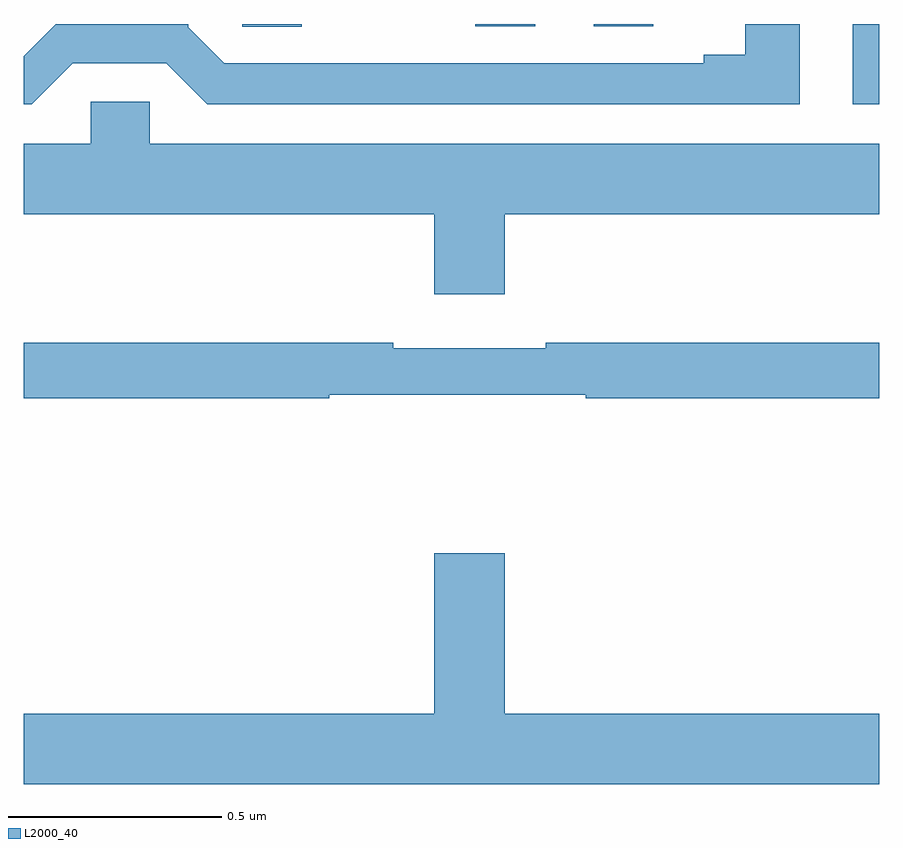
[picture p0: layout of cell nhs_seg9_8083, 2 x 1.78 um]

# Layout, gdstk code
import gdstk
lib = gdstk.Library(unit=1e-6, precision=1e-09)
def R(c, l, rs):  # rectangles x0, y0, x1, y1
    for r in rs: c.add(gdstk.rectangle(r[:2], r[2:], *l))
def P(c, l, *ps):  # polygons
    for p in ps: c.add(gdstk.Polygon(p, *l))
L2000_40 = (2000, 40)

nhs_seg9_8083 = lib.new_cell('nhs_seg9_8083')
R(nhs_seg9_8083, L2000_40, [(213.938,1227.312,214,1227.5), (212.511,1227.493,212.65,1227.5), (213.056,1227.495,213.196,1227.5), (213.332,1227.495,213.472,1227.5)])
P(nhs_seg9_8083, L2000_40, [(212.115,1227.408),(212.333,1227.408),(212.429,1227.312),(213.814,1227.312),(213.814,1227.5),(213.686,1227.5),(213.686,1227.428),(213.59,1227.428),(213.59,1227.408),(212.469,1227.408),(212.385,1227.492),(212.385,1227.5),(212.075,1227.5),(212,1227.425),(212,1227.312),(212.019,1227.312)],
  [(213.124,1227.056),(214,1227.056),(214,1227.22),(212.295,1227.22),(212.295,1227.318),(212.157,1227.318),(212.157,1227.22),(212,1227.22),(212,1227.056),(212.96,1227.056),(212.96,1226.868),(213.124,1226.868)],
  [(212.714,1226.634),(213.314,1226.634),(213.314,1226.626),(214,1226.626),(214,1226.755),(213.22,1226.755),(213.22,1226.742),(212.864,1226.742),(212.864,1226.755),(212,1226.755),(212,1226.626),(212.714,1226.626)],
  [(214,1225.888),(213.124,1225.888),(213.124,1226.263),(212.96,1226.263),(212.96,1225.888),(212,1225.888),(212,1225.724),(214,1225.724)])

lib.write_gds('nhs_seg9_8083.gds')
